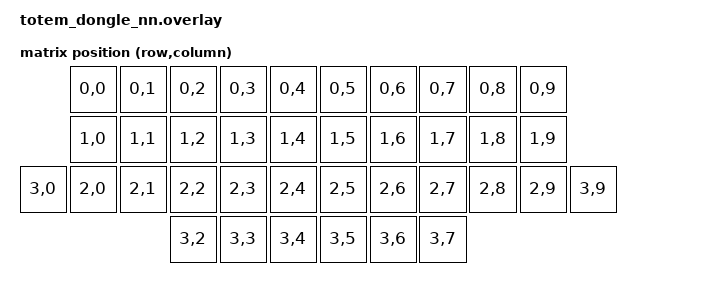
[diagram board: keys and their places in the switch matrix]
/*
 * nice!nano dongle for the TOTEM (used with the OLED display).
 *
 * The keyboard halves are the peripherals, so the dongle has no real matrix -
 * it uses a mock kscan and the same matrix transform as the XIAO dongle so key
 * positions received over BLE map to the shared keymap correctly.
 *
 * The OLED is on the nice!nano's I2C (pro_micro_i2c) at 0x3c. If your dongle
 * wires the screen to different pins, adjust the bus/reg here.
 */

#include <dt-bindings/zmk/matrix_transform.h>

/ {
    chosen {
        zmk,kscan = &mock_kscan;
        zmk,matrix_transform = &default_transform;
        zephyr,display = &oled;
    };

    default_transform: keymap_transform_0 {
        compatible = "zmk,matrix-transform";
        columns = <10>;
        rows = <4>;
        map = <
                RC(0,0) RC(0,1) RC(0,2) RC(0,3) RC(0,4)    RC(0,5) RC(0,6) RC(0,7) RC(0,8) RC(0,9)
                RC(1,0) RC(1,1) RC(1,2) RC(1,3) RC(1,4)    RC(1,5) RC(1,6) RC(1,7) RC(1,8) RC(1,9)
        RC(3,0) RC(2,0) RC(2,1) RC(2,2) RC(2,3) RC(2,4)    RC(2,5) RC(2,6) RC(2,7) RC(2,8) RC(2,9) RC(3,9)
                                RC(3,2) RC(3,3) RC(3,4)    RC(3,5) RC(3,6) RC(3,7)
        >;
    };

    mock_kscan: kscan_mock {
        compatible = "zmk,kscan-mock";
        columns = <0>;
        rows = <0>;
        events = <0>;
    };
};

&pro_micro_i2c {
    status = "okay";

    oled: ssd1306@3c {
        compatible = "solomon,ssd1306fb";
        reg = <0x3c>;
        width = <128>;
        height = <64>;
        segment-offset = <0>;
        page-offset = <0>;
        display-offset = <0>;
        multiplex-ratio = <63>;
        segment-remap;
        com-invdir;
        inversion-on;
        prechargep = <0x22>;
    };
};
